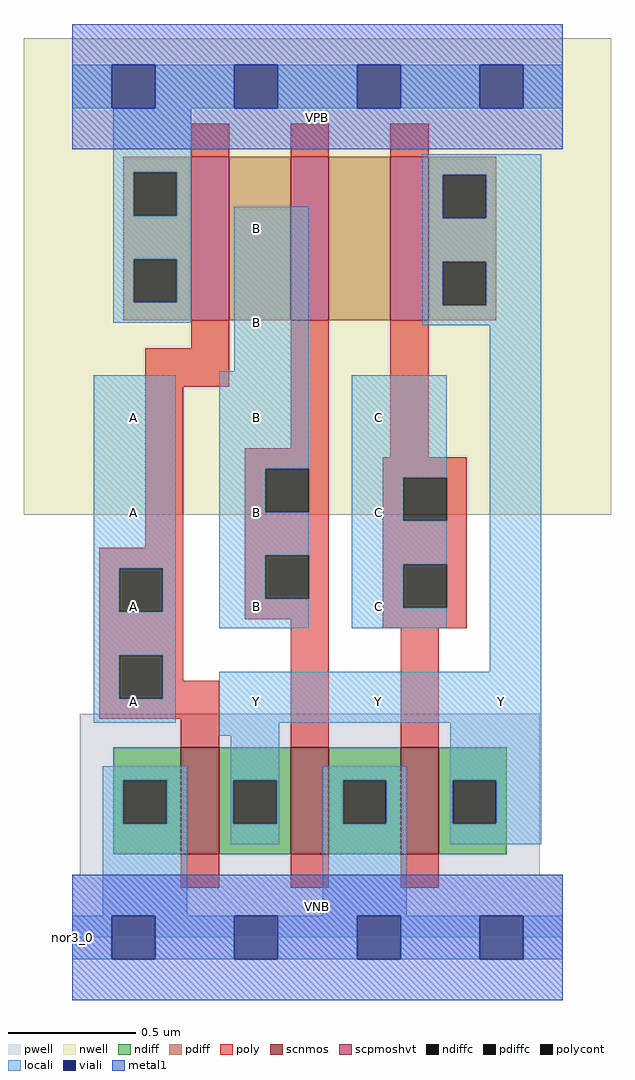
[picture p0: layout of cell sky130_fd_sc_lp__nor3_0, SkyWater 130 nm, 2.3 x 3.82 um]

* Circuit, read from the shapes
.subckt sky130_fd_sc_lp__nor3_0 A B C VGND VNB VPB VPWR Y
XM1 Y A VGND VNB sky130_fd_pr__nfet_01v8 w=0.42 l=0.15
XM2 VGND B Y VNB sky130_fd_pr__nfet_01v8 w=0.42 l=0.15
XM3 Y C VGND VNB sky130_fd_pr__nfet_01v8 w=0.42 l=0.15
XM4 n1 A VPWR VPB sky130_fd_pr__pfet_01v8_hvt w=0.64 l=0.15
XM5 n2 B n1 VPB sky130_fd_pr__pfet_01v8_hvt w=0.64 l=0.15
XM6 Y C n2 VPB sky130_fd_pr__pfet_01v8_hvt w=0.64 l=0.15
.ends

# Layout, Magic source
magic
tech sky130A
magscale 1 2
<< nwell >>
rect -38 331 422 704
<< pwell >>
rect 6 49 366 175
rect 0 0 384 49
<< scnmos >>
rect 85 65 115 149
rect 171 65 201 149
rect 257 65 287 149
<< scpmoshvt >>
rect 93 483 123 611
rect 171 483 201 611
rect 249 483 279 611
<< ndiff >>
rect 32 123 85 149
rect 32 89 40 123
rect 74 89 85 123
rect 32 65 85 89
rect 115 123 171 149
rect 115 89 126 123
rect 160 89 171 123
rect 115 65 171 89
rect 201 123 257 149
rect 201 89 212 123
rect 246 89 257 123
rect 201 65 257 89
rect 287 123 340 149
rect 287 89 298 123
rect 332 89 340 123
rect 287 65 340 89
<< pdiff >>
rect 40 599 93 611
rect 40 565 48 599
rect 82 565 93 599
rect 40 531 93 565
rect 40 497 48 531
rect 82 497 93 531
rect 40 483 93 497
rect 123 483 171 611
rect 201 483 249 611
rect 279 597 332 611
rect 279 563 290 597
rect 324 563 332 597
rect 279 529 332 563
rect 279 495 290 529
rect 324 495 332 529
rect 279 483 332 495
<< ndiffc >>
rect 40 89 74 123
rect 126 89 160 123
rect 212 89 246 123
rect 298 89 332 123
<< pdiffc >>
rect 48 565 82 599
rect 48 497 82 531
rect 290 563 324 597
rect 290 495 324 529
<< poly >>
rect 93 611 123 637
rect 171 611 201 637
rect 249 611 279 637
rect 93 461 123 483
rect 57 431 123 461
rect 57 305 87 431
rect 171 383 201 483
rect 21 289 87 305
rect 21 255 37 289
rect 71 255 87 289
rect 21 221 87 255
rect 135 367 201 383
rect 249 376 279 483
rect 135 333 151 367
rect 185 333 201 367
rect 135 299 201 333
rect 135 265 151 299
rect 185 265 201 299
rect 135 249 201 265
rect 21 187 37 221
rect 71 201 87 221
rect 71 187 115 201
rect 21 171 115 187
rect 85 149 115 171
rect 171 149 201 249
rect 243 360 309 376
rect 243 326 259 360
rect 293 326 309 360
rect 243 292 309 326
rect 243 258 259 292
rect 293 258 309 292
rect 243 242 309 258
rect 257 149 287 242
rect 85 39 115 65
rect 171 39 201 65
rect 257 39 287 65
<< polycont >>
rect 37 255 71 289
rect 151 333 185 367
rect 151 265 185 299
rect 37 187 71 221
rect 259 326 293 360
rect 259 258 293 292
<< locali >>
rect 0 649 31 683
rect 65 649 127 683
rect 161 649 223 683
rect 257 649 319 683
rect 353 649 384 683
rect 32 599 93 649
rect 32 565 48 599
rect 82 565 93 599
rect 274 597 367 613
rect 32 531 93 565
rect 32 497 48 531
rect 82 497 93 531
rect 32 481 93 497
rect 127 443 185 572
rect 274 563 290 597
rect 324 563 367 597
rect 274 529 367 563
rect 274 495 290 529
rect 324 495 367 529
rect 274 479 367 495
rect 17 289 81 440
rect 17 255 37 289
rect 71 255 81 289
rect 17 221 81 255
rect 115 367 185 443
rect 115 333 151 367
rect 115 299 185 333
rect 115 265 151 299
rect 115 242 185 265
rect 219 360 293 440
rect 219 326 259 360
rect 219 292 293 326
rect 219 258 259 292
rect 219 242 293 258
rect 17 187 37 221
rect 71 187 81 221
rect 327 208 367 479
rect 17 168 81 187
rect 115 168 367 208
rect 115 158 162 168
rect 24 123 90 134
rect 24 89 40 123
rect 74 89 90 123
rect 24 17 90 89
rect 124 123 162 158
rect 124 89 126 123
rect 160 89 162 123
rect 124 73 162 89
rect 196 123 262 134
rect 196 89 212 123
rect 246 89 262 123
rect 196 17 262 89
rect 296 123 367 168
rect 296 89 298 123
rect 332 89 367 123
rect 296 73 367 89
rect 0 -17 31 17
rect 65 -17 127 17
rect 161 -17 223 17
rect 257 -17 319 17
rect 353 -17 384 17
<< viali >>
rect 31 649 65 683
rect 127 649 161 683
rect 223 649 257 683
rect 319 649 353 683
rect 31 -17 65 17
rect 127 -17 161 17
rect 223 -17 257 17
rect 319 -17 353 17
<< metal1 >>
rect 0 683 384 715
rect 0 649 31 683
rect 65 649 127 683
rect 161 649 223 683
rect 257 649 319 683
rect 353 649 384 683
rect 0 617 384 649
rect 0 17 384 49
rect 0 -17 31 17
rect 65 -17 127 17
rect 161 -17 223 17
rect 257 -17 319 17
rect 353 -17 384 17
rect 0 -49 384 -17
<< labels >>
flabel pwell s 0 0 384 49 0 FreeSans 200 0 0 0 VNB
port 5 nsew ground bidirectional
flabel nwell s 0 617 384 666 0 FreeSans 200 0 0 0 VPB
port 6 nsew power bidirectional
rlabel comment s 0 0 0 0 4 nor3_0
flabel metal1 s 0 617 384 666 0 FreeSans 340 0 0 0 VPWR
port 7 nsew power bidirectional
flabel metal1 s 0 0 384 49 0 FreeSans 340 0 0 0 VGND
port 4 nsew ground bidirectional
flabel locali s 31 168 65 202 0 FreeSans 340 0 0 0 A
port 1 nsew signal input
flabel locali s 31 242 65 276 0 FreeSans 340 0 0 0 A
port 1 nsew signal input
flabel locali s 31 316 65 350 0 FreeSans 340 0 0 0 A
port 1 nsew signal input
flabel locali s 31 390 65 424 0 FreeSans 340 0 0 0 A
port 1 nsew signal input
flabel locali s 127 242 161 276 0 FreeSans 340 0 0 0 B
port 2 nsew signal input
flabel locali s 127 316 161 350 0 FreeSans 340 0 0 0 B
port 2 nsew signal input
flabel locali s 127 390 161 424 0 FreeSans 340 0 0 0 B
port 2 nsew signal input
flabel locali s 127 464 161 498 0 FreeSans 340 0 0 0 B
port 2 nsew signal input
flabel locali s 127 538 161 572 0 FreeSans 340 0 0 0 B
port 2 nsew signal input
flabel locali s 223 242 257 276 0 FreeSans 340 0 0 0 C
port 3 nsew signal input
flabel locali s 223 316 257 350 0 FreeSans 340 0 0 0 C
port 3 nsew signal input
flabel locali s 223 390 257 424 0 FreeSans 340 0 0 0 C
port 3 nsew signal input
flabel locali s 127 168 161 202 0 FreeSans 340 0 0 0 Y
port 8 nsew signal output
flabel locali s 319 168 353 202 0 FreeSans 340 0 0 0 Y
port 8 nsew signal output
flabel locali s 223 168 257 202 0 FreeSans 340 0 0 0 Y
port 8 nsew signal output
<< properties >>
string LEFsite unit
string LEFclass CORE
string FIXED_BBOX 0 0 384 666
string GDS_FILE $PDKPATH/libs.ref/sky130_fd_sc_lp/gds/sky130_fd_sc_lp.gds
string LEFsymmetry X Y R90
string GDS_END 2499216
string GDS_START 2493538
<< end >>
